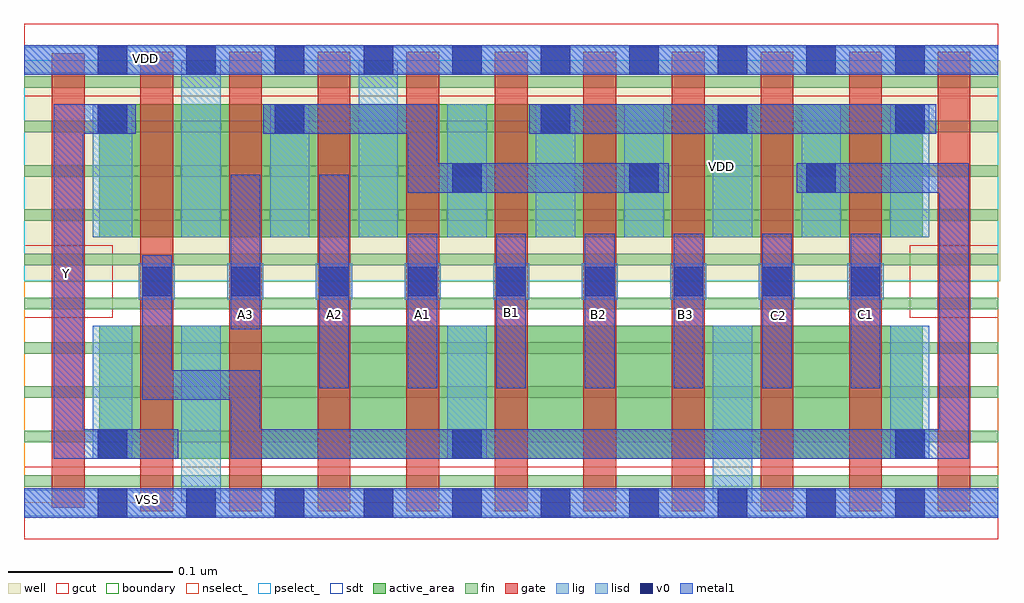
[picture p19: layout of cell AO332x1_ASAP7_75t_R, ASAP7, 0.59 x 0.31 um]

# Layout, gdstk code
import gdstk
lib = gdstk.Library(unit=1e-6, precision=1e-09)
def R(c, l, rs):  # rectangles x0, y0, x1, y1
    for r in rs: c.add(gdstk.rectangle(r[:2], r[2:], *l))
def A(c, l, x, y, w, h, nx, ny, dx, dy):  # array of equal rectangles
    R(c, l, [(x+i*dx, y+j*dy, x+i*dx+w, y+j*dy+h) for i in range(nx) for j in range(ny)])
def P(c, l, *ps):  # polygons
    for p in ps: c.add(gdstk.Polygon(p, *l))
well = (1, 0)
fin = (2, 0)
gate = (7, 0)
gcut = (10, 0)
active_area = (11, 0)
nselect_ = (12, 0)
pselect_ = (13, 0)
lig = (16, 0)
lisd = (17, 0)
v0 = (18, 0)
metal1 = (19, 0)
sdt = (88, 0)
boundary = (100, 0)

ao332x1_asap7_75t_r = lib.new_cell('AO332x1_ASAP7_75t_R')
R(ao332x1_asap7_75t_r, well, [(0,0.135,0.595,0.27)])
A(ao332x1_asap7_75t_r, fin, 0, 0.01, 0.594, 0.007, 1, 10, 0, 0.027)
A(ao332x1_asap7_75t_r, gate, 0.071, -0.005, 0.02, 0.28, 10, 1, 0.054, 0)
R(ao332x1_asap7_75t_r, gate, [(0.017,-0.003,0.037,0.274), (0.017,-0.003,0.037,0.274)])
R(ao332x1_asap7_75t_r, gcut, [(0,-0.022,0.594,0.022), (0,0.113,0.054,0.157), (0.54,0.113,0.594,0.157), (0,0.248,0.594,0.292)])
R(ao332x1_asap7_75t_r, active_area, [(0.046,0.027,0.548,0.108), (0.046,0.162,0.548,0.243)])
R(ao332x1_asap7_75t_r, nselect_, [(0,0,0.594,0.135)])
R(ao332x1_asap7_75t_r, pselect_, [(0,0.135,0.594,0.27)])
A(ao332x1_asap7_75t_r, lig, 0.07, 0.124, 0.022, 0.022, 9, 1, 0.054, 0)
R(ao332x1_asap7_75t_r, lig, [(0,-0.008,0.594,0.008), (0,0.262,0.594,0.278)])
A(ao332x1_asap7_75t_r, lisd, 0.042, 0.162, 0.024, 0.081, 3, 1, 0.108, 0)
A(ao332x1_asap7_75t_r, lisd, 0.312, 0.162, 0.024, 0.081, 5, 1, 0.054, 0)
R(ao332x1_asap7_75t_r, lisd, [(0.096,0,0.12,0.108), (0.096,0,0.12,0.108), (0.42,0,0.444,0.108), (0.042,0.027,0.066,0.108), (0.258,0.027,0.282,0.108), (0.528,0.027,0.552,0.108), (0.096,0.162,0.12,0.27), (0.096,0.162,0.12,0.27), (0.204,0.162,0.228,0.27)])
A(ao332x1_asap7_75t_r, v0, 0.099, -0.009, 0.018, 0.018, 9, 2, 0.054, 0.27)
A(ao332x1_asap7_75t_r, v0, 0.072, 0.126, 0.018, 0.018, 9, 1, 0.054, 0)
A(ao332x1_asap7_75t_r, v0, 0.261, 0.189, 0.018, 0.018, 3, 1, 0.108, 0)
A(ao332x1_asap7_75t_r, v0, 0.315, 0.225, 0.018, 0.018, 3, 1, 0.108, 0)
R(ao332x1_asap7_75t_r, v0, [(0.045,-0.009,0.063,0.009), (0.045,-0.009,0.063,0.009), (0.099,-0.009,0.117,0.009), (0.045,0.027,0.063,0.045), (0.261,0.027,0.279,0.045), (0.531,0.027,0.549,0.045), (0.045,0.225,0.063,0.243), (0.153,0.225,0.171,0.243), (0.045,0.261,0.063,0.279), (0.045,0.261,0.063,0.279), (0.099,0.261,0.117,0.279)])
A(ao332x1_asap7_75t_r, metal1, 0.234, 0.07, 0.018, 0.094, 6, 1, 0.054, 0)
R(ao332x1_asap7_75t_r, metal1, [(0,-0.009,0.594,0.009), (0.18,0.07,0.198,0.2), (0.126,0.106,0.144,0.2), (0.308,0.225,0.556,0.243), (0,0.261,0.594,0.279)])
P(ao332x1_asap7_75t_r, metal1, [(0.126,0.027),(0.126,0.063),(0.072,0.063),(0.072,0.151),(0.09,0.151),(0.09,0.081),(0.144,0.081),(0.144,0.045),(0.558,0.045),(0.558,0.189),(0.471,0.189),(0.471,0.207),(0.576,0.207),(0.576,0.027)],
  [(0.018,0.027),(0.018,0.243),(0.068,0.243),(0.068,0.225),(0.036,0.225),(0.036,0.045),(0.094,0.045),(0.094,0.027)],
  [(0.234,0.189),(0.234,0.225),(0.146,0.225),(0.146,0.243),(0.252,0.243),(0.252,0.207),(0.393,0.207),(0.393,0.189)])
A(ao332x1_asap7_75t_r, sdt, 0.096, 0.027, 0.024, 0.081, 3, 1, 0.162, 0)
A(ao332x1_asap7_75t_r, sdt, 0.096, 0.162, 0.024, 0.081, 9, 1, 0.054, 0)
R(ao332x1_asap7_75t_r, sdt, [(0.042,0.027,0.066,0.108), (0.042,0.027,0.066,0.108), (0.096,0.027,0.12,0.108), (0.528,0.027,0.552,0.108), (0.042,0.162,0.066,0.243), (0.042,0.162,0.066,0.243), (0.096,0.162,0.12,0.243)])
R(ao332x1_asap7_75t_r, boundary, [(0,0,0.594,0.27)])
ao332x1_asap7_75t_r.add(gdstk.Label('Y', (0.026,0.14), layer=19, texttype=251))
ao332x1_asap7_75t_r.add(gdstk.Label('VDD', (0.074,0.271), layer=19, texttype=251))
ao332x1_asap7_75t_r.add(gdstk.Label('VSS', (0.075,0.002), layer=19, texttype=251))
ao332x1_asap7_75t_r.add(gdstk.Label('C1', (0.513,0.115), layer=19, texttype=251))
ao332x1_asap7_75t_r.add(gdstk.Label('C2', (0.46,0.114), layer=19, texttype=251))
ao332x1_asap7_75t_r.add(gdstk.Label('B3', (0.403,0.115), layer=19, texttype=251))
ao332x1_asap7_75t_r.add(gdstk.Label('B2', (0.35,0.115), layer=19, texttype=251))
ao332x1_asap7_75t_r.add(gdstk.Label('B1', (0.297,0.116), layer=19, texttype=251))
ao332x1_asap7_75t_r.add(gdstk.Label('A1', (0.243,0.115), layer=19, texttype=251))
ao332x1_asap7_75t_r.add(gdstk.Label('A2', (0.189,0.115), layer=19, texttype=251))
ao332x1_asap7_75t_r.add(gdstk.Label('A3', (0.135,0.115), layer=19, texttype=251))
ao332x1_asap7_75t_r.add(gdstk.Label('VDD', (0.425,0.205), layer=1, texttype=251))
ao332x1_asap7_75t_r.add(gdstk.Label('VSS', (0.366,-0.046), layer=3, texttype=251))

lib.write_gds('AO332x1_ASAP7_75t_R.gds')
